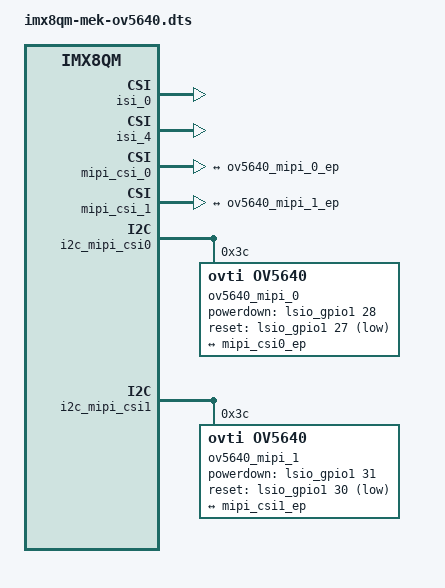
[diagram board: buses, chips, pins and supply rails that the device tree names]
// SPDX-License-Identifier: GPL-2.0+
// Copyright NXP 2019

#include "imx8qm-mek.dts"

&isi_0 {
	status = "okay";

	cap_device {
		status = "okay";
	};

	m2m_device {
		status = "okay";
	};
};

&isi_1 {
	status = "disabled";

	cap_device {
		status = "disabled";
	};
};

&isi_2 {
	status = "disabled";

	cap_device {
		status = "disabled";
	};
};

&isi_3 {
	status = "disabled";

	cap_device {
		status = "disabled";
	};
};

&isi_4 {
	status = "okay";

	cap_device {
		status = "okay";
	};
};

&isi_5 {
	status = "disabled";

	cap_device {
		status = "disabled";
	};
};

&isi_6 {
	status = "disabled";

	cap_device {
		status = "disabled";
	};
};

&isi_7 {
	status = "disabled";

	cap_device {
		status = "disabled";
	};
};

&mipi_csi_0 {
	/delete-property/virtual-channel;

	/* Camera 0  MIPI CSI-2 (CSIS0) */
	port@0 {
		reg = <0>;
		mipi_csi0_ep: endpoint {
			remote-endpoint = <&ov5640_mipi_0_ep>;
			data-lanes = <1 2>;
			bus-type = <4>;
		};
	};
};

&mipi_csi_1 {
	/delete-property/virtual-channel;

	/* Camera 1  MIPI CSI-2 (CSIS0) */
	port@1 {
		reg = <1>;
		mipi_csi1_ep: endpoint {
			remote-endpoint = <&ov5640_mipi_1_ep>;
			data-lanes = <1 2>;
			bus-type = <4>;
		};
	};
};

&i2c_mipi_csi0 {
	ov5640_mipi_0: ov5640_mipi@3c {
		compatible = "ovti,ov5640";
		reg = <0x3c>;
		pinctrl-names = "default";
		pinctrl-0 = <&pinctrl_mipi_csi0>;
		clocks = <&xtal24m>;
		clock-names = "xclk";
		csi_id = <0>;
		powerdown-gpios = <&lsio_gpio1 28 GPIO_ACTIVE_HIGH>;
		reset-gpios = <&lsio_gpio1 27 GPIO_ACTIVE_LOW>;
		mclk = <24000000>;
		mclk_source = <0>;
		mipi_csi;
		status = "okay";
		port {
			ov5640_mipi_0_ep: endpoint {
				remote-endpoint = <&mipi_csi0_ep>;
				data-lanes = <1 2>;
				clocks-lanes = <0>;
			};
		};
	};

	/delete-node/max9286_mipi@6a;
};

&i2c_mipi_csi1 {
	ov5640_mipi_1: ov5640_mipi@3c {
		compatible = "ovti,ov5640";
		reg = <0x3c>;
		pinctrl-names = "default";
		pinctrl-0 = <&pinctrl_mipi_csi1>;
		clocks = <&xtal24m>;
		clock-names = "xclk";
		csi_id = <0>;
		powerdown-gpios = <&lsio_gpio1 31 GPIO_ACTIVE_HIGH>;
		reset-gpios = <&lsio_gpio1 30 GPIO_ACTIVE_LOW>;
		mclk = <24000000>;
		mclk_source = <0>;
		mipi_csi;
		status = "okay";
		port {
			ov5640_mipi_1_ep: endpoint {
				remote-endpoint = <&mipi_csi1_ep>;
				data-lanes = <1 2>;
				clocks-lanes = <0>;
			};
		};
	};

	/delete-node/max9286_mipi@6a;
};
